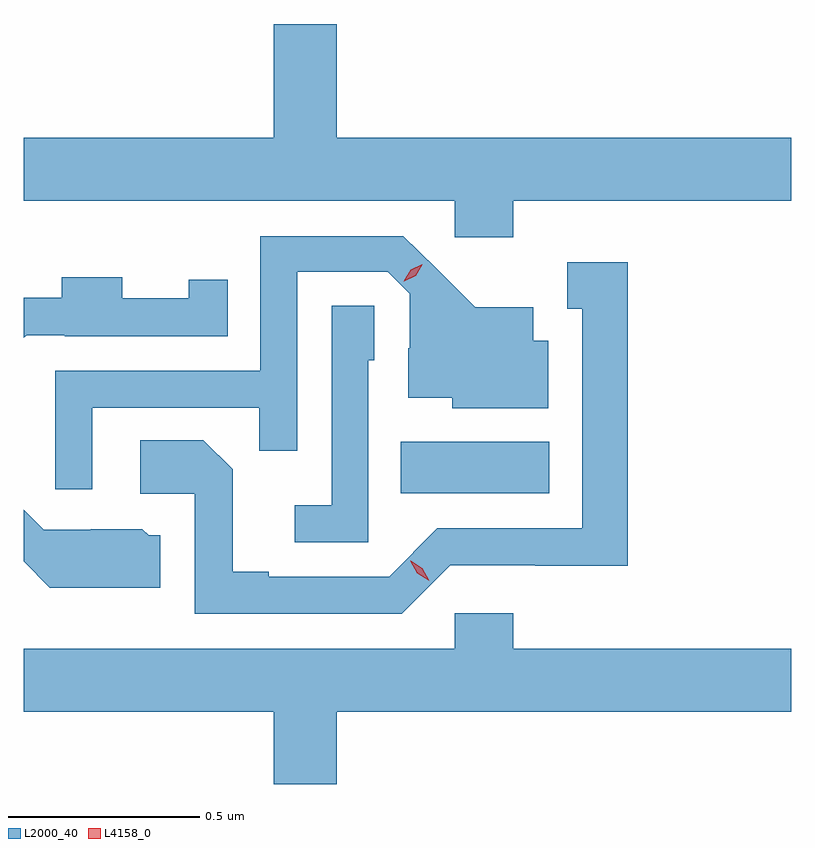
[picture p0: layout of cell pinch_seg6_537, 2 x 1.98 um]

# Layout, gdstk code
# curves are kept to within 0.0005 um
import gdstk
lib = gdstk.Library(unit=1e-6, precision=1e-09)
def R(c, l, rs):  # rectangles x0, y0, x1, y1
    for r in rs: c.add(gdstk.rectangle(r[:2], r[2:], *l))
def P(c, l, *ps):  # polygons
    for p in ps: c.add(gdstk.Polygon(p, *l))
L2000_40 = (2000, 40)
L4158_0 = (4158, 0)

pinch_seg6_537 = lib.new_cell('pinch_seg6_537')
R(pinch_seg6_537, L2000_40, [(788.716,945.242,789.103,945.376)])
P(pinch_seg6_537, L2000_40, [(789.008,946.004),(789.733,946.004),(789.733,946.168),(788.548,946.168),(788.548,946.465),(788.384,946.465),(788.384,946.168),(787.733,946.168),(787.733,946.004),(788.856,946.004),(788.856,945.909),(789.008,945.909)],
  [(787.911,945.465),(788.347,945.465),(788.347,945.352),(788.445,945.352),(788.445,945.819),(788.682,945.819),(788.739,945.762),(788.739,945.62),(788.735,945.62),(788.735,945.491),(788.85,945.491),(788.85,945.464),(789.1,945.464),(789.1,945.64),(789.061,945.64),(789.061,945.727),(788.909,945.727),(788.722,945.912),(788.349,945.912),(788.349,945.561),(787.815,945.561),(787.815,945.252),(787.911,945.252)],
  [(788.844,945.054),(789.066,945.054),(789.066,945.053),(789.307,945.053),(789.307,945.844),(789.149,945.844),(789.149,945.723),(789.188,945.723),(789.188,945.15),(788.811,945.15),(788.685,945.024),(788.371,945.024),(788.371,945.037),(788.277,945.037),(788.277,945.304),(788.201,945.38),(788.037,945.38),(788.037,945.24),(788.178,945.24),(788.178,944.928),(788.718,944.928)],
  [(787.74,945.654),(787.84,945.654),(787.84,945.651),(788.264,945.651),(788.264,945.799),(788.163,945.799),(788.163,945.75),(787.99,945.75),(787.99,945.805),(787.832,945.805),(787.832,945.751),(787.733,945.751),(787.733,945.647)],
  [(788.631,945.588),(788.646,945.588),(788.646,945.731),(788.535,945.731),(788.535,945.211),(788.439,945.211),(788.439,945.114),(788.631,945.114)],
  [(788.089,945.132),(788.058,945.132),(788.042,945.148),(787.908,945.148),(787.908,945.147),(787.785,945.147),(787.733,945.199),(787.733,945.065),(787.801,944.996),(788.089,944.996)],
  [(788.548,944.672),(789.733,944.672),(789.733,944.836),(789.008,944.836),(789.008,944.929),(788.856,944.929),(788.856,944.836),(787.733,944.836),(787.733,944.672),(788.384,944.672),(788.384,944.484),(788.548,944.484)])
P(pinch_seg6_537, L4158_0, [(788.79,945.014),(788.758,945.033),(788.74,945.066),(788.74,945.066),(788.741,945.066),(788.772,945.047),(788.79,945.014),(788.79,945.014)],
  [(788.723,945.794),(788.723,945.794),(788.741,945.824),(788.772,945.839),(788.772,945.839),(788.772,945.838),(788.754,945.809),(788.724,945.794)])

lib.write_gds('pinch_seg6_537.gds')
